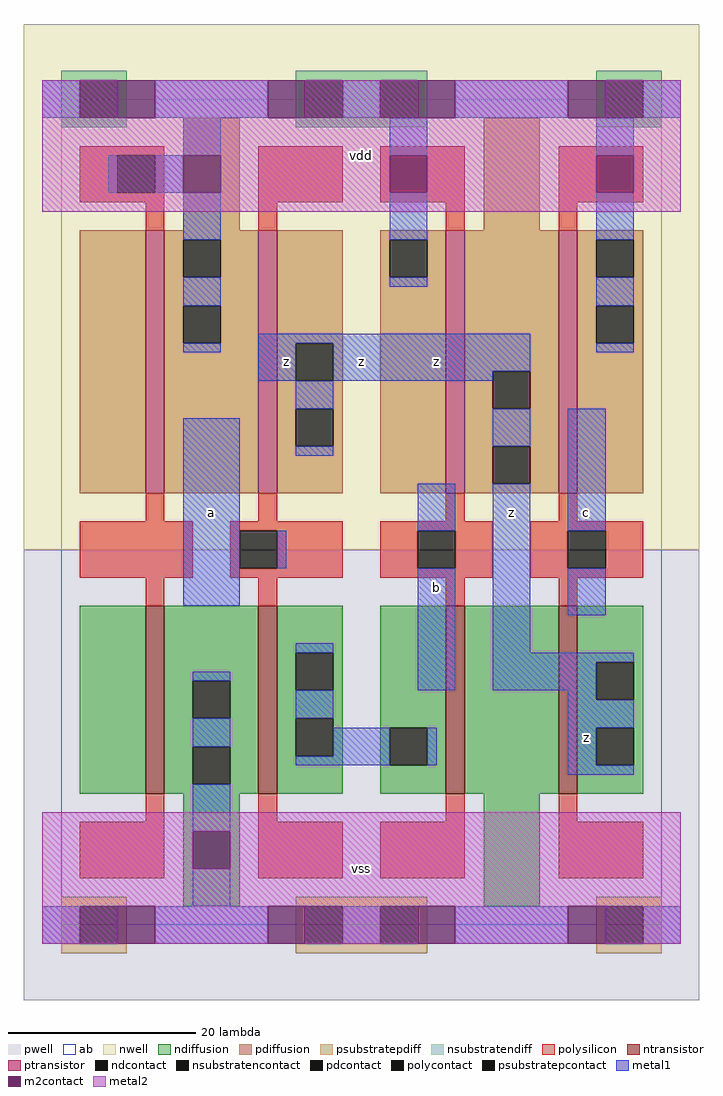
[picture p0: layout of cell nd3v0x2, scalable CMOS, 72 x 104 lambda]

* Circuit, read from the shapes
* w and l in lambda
.subckt nd3v0x2 a b c vdd vss z
M1 vss vdd n1 vss nfet w=20 l=2
M2 n2 a vss vss nfet w=20 l=2
M3 n3 b n2 vss nfet w=20 l=2
M4 z c n3 vss nfet w=20 l=2
M5 vdd vdd n4 vdd pfet w=28 l=2
M6 z a vdd vdd pfet w=28 l=2
M7 z b vdd vdd pfet w=28 l=2
M8 vdd c z vdd pfet w=28 l=2
.ends

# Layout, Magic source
magic
tech scmos
<< ab >>
rect 0 0 64 88
<< pwell >>
rect -4 -8 68 40
<< nwell >>
rect -4 40 68 96
<< polysilicon >>
rect 2 82 11 83
rect 2 78 6 82
rect 10 78 11 82
rect 2 77 11 78
rect 9 74 11 77
rect 21 77 30 83
rect 34 77 43 83
rect 21 74 23 77
rect 41 74 43 77
rect 53 77 62 83
rect 53 74 55 77
rect 9 43 11 46
rect 21 43 23 46
rect 41 43 43 46
rect 53 43 55 46
rect 2 37 14 43
rect 18 42 30 43
rect 18 38 19 42
rect 23 38 30 42
rect 18 37 30 38
rect 34 42 46 43
rect 34 38 38 42
rect 42 38 46 42
rect 34 37 46 38
rect 50 42 62 43
rect 50 38 54 42
rect 58 38 62 42
rect 50 37 62 38
rect 9 34 11 37
rect 21 34 23 37
rect 41 34 43 37
rect 53 34 55 37
rect 9 11 11 14
rect 2 5 11 11
rect 21 11 23 14
rect 41 11 43 14
rect 21 5 30 11
rect 34 5 43 11
rect 53 11 55 14
rect 53 5 62 11
<< ndiffusion >>
rect 2 14 9 34
rect 11 26 21 34
rect 11 22 14 26
rect 18 22 21 26
rect 11 19 21 22
rect 11 15 14 19
rect 18 15 21 19
rect 11 14 21 15
rect 23 29 30 34
rect 23 25 25 29
rect 29 25 30 29
rect 23 22 30 25
rect 23 18 25 22
rect 29 18 30 22
rect 23 14 30 18
rect 34 21 41 34
rect 34 17 35 21
rect 39 17 41 21
rect 34 14 41 17
rect 43 14 53 34
rect 55 28 62 34
rect 55 24 57 28
rect 61 24 62 28
rect 55 21 62 24
rect 55 17 57 21
rect 61 17 62 21
rect 55 14 62 17
rect 13 2 19 14
rect 45 2 51 14
<< pdiffusion >>
rect 13 74 19 86
rect 45 74 51 86
rect 2 46 9 74
rect 11 73 21 74
rect 11 69 13 73
rect 17 69 21 73
rect 11 66 21 69
rect 11 62 13 66
rect 17 62 21 66
rect 11 46 21 62
rect 23 62 30 74
rect 23 58 25 62
rect 29 58 30 62
rect 23 55 30 58
rect 23 51 25 55
rect 29 51 30 55
rect 23 46 30 51
rect 34 73 41 74
rect 34 69 35 73
rect 39 69 41 73
rect 34 46 41 69
rect 43 59 53 74
rect 43 55 46 59
rect 50 55 53 59
rect 43 51 53 55
rect 43 47 46 51
rect 50 47 53 51
rect 43 46 53 47
rect 55 73 62 74
rect 55 69 57 73
rect 61 69 62 73
rect 55 66 62 69
rect 55 62 57 66
rect 61 62 62 66
rect 55 46 62 62
<< metal1 >>
rect -2 86 2 90
rect 10 86 22 90
rect 30 86 34 90
rect 42 86 54 90
rect 62 86 66 90
rect 13 82 17 86
rect 5 78 6 82
rect 10 78 13 82
rect 13 73 17 78
rect 13 66 17 69
rect 35 82 39 86
rect 35 73 39 78
rect 35 68 39 69
rect 57 82 61 86
rect 57 73 61 78
rect 57 66 61 69
rect 13 61 17 62
rect 21 62 50 63
rect 21 58 25 62
rect 29 59 50 62
rect 57 61 61 62
rect 29 58 46 59
rect 25 55 29 58
rect 13 34 19 54
rect 25 50 29 51
rect 46 51 50 55
rect 38 42 42 47
rect 23 38 24 42
rect 25 29 29 30
rect 14 26 18 27
rect 14 19 18 22
rect 38 25 42 38
rect 46 29 50 47
rect 54 42 58 55
rect 54 33 58 38
rect 46 28 61 29
rect 46 25 57 28
rect 25 22 29 25
rect 54 24 57 25
rect 54 21 61 24
rect 29 18 35 21
rect 25 17 35 18
rect 39 17 40 21
rect 54 17 57 21
rect 54 16 61 17
rect 14 10 18 15
rect 14 2 18 6
rect -2 -2 2 2
rect 10 -2 22 2
rect 30 -2 34 2
rect 42 -2 54 2
rect 62 -2 66 2
<< metal2 >>
rect -2 86 6 90
rect 10 86 22 90
rect 26 86 38 90
rect 42 86 54 90
rect 58 86 66 90
rect -2 82 66 86
rect -2 78 13 82
rect 17 78 35 82
rect 39 78 57 82
rect 61 78 66 82
rect -2 76 66 78
rect -2 10 66 12
rect -2 6 14 10
rect 18 6 66 10
rect -2 2 66 6
rect -2 -2 6 2
rect 10 -2 22 2
rect 26 -2 38 2
rect 42 -2 54 2
rect 58 -2 66 2
<< ntransistor >>
rect 9 14 11 34
rect 21 14 23 34
rect 41 14 43 34
rect 53 14 55 34
<< ptransistor >>
rect 9 46 11 74
rect 21 46 23 74
rect 41 46 43 74
rect 53 46 55 74
<< polycontact >>
rect 6 78 10 82
rect 19 38 23 42
rect 38 38 42 42
rect 54 38 58 42
<< ndcontact >>
rect 14 22 18 26
rect 14 15 18 19
rect 25 25 29 29
rect 25 18 29 22
rect 35 17 39 21
rect 57 24 61 28
rect 57 17 61 21
<< pdcontact >>
rect 13 69 17 73
rect 13 62 17 66
rect 25 58 29 62
rect 25 51 29 55
rect 35 69 39 73
rect 46 55 50 59
rect 46 47 50 51
rect 57 69 61 73
rect 57 62 61 66
<< m2contact >>
rect 6 86 10 90
rect 22 86 26 90
rect 38 86 42 90
rect 54 86 58 90
rect 13 78 17 82
rect 35 78 39 82
rect 57 78 61 82
rect 14 6 18 10
rect 6 -2 10 2
rect 22 -2 26 2
rect 38 -2 42 2
rect 54 -2 58 2
<< psubstratepcontact >>
rect 2 -2 6 2
rect 26 -2 30 2
rect 34 -2 38 2
rect 58 -2 62 2
<< nsubstratencontact >>
rect 2 86 6 90
rect 26 86 30 90
rect 34 86 38 90
rect 58 86 62 90
<< psubstratepdiff >>
rect 0 2 7 3
rect 25 2 39 3
rect 57 2 64 3
rect 0 -2 2 2
rect 6 -2 7 2
rect 0 -3 7 -2
rect 25 -2 26 2
rect 30 -2 34 2
rect 38 -2 39 2
rect 25 -3 39 -2
rect 57 -2 58 2
rect 62 -2 64 2
rect 57 -3 64 -2
<< nsubstratendiff >>
rect 0 90 7 91
rect 0 86 2 90
rect 6 86 7 90
rect 25 90 39 91
rect 25 86 26 90
rect 30 86 34 90
rect 38 86 39 90
rect 57 90 64 91
rect 57 86 58 90
rect 62 86 64 90
rect 0 85 7 86
rect 25 85 39 86
rect 57 85 64 86
<< labels >>
rlabel metal1 16 44 16 44 6 a
rlabel metal1 24 60 24 60 6 z
rlabel metal1 40 36 40 36 6 b
rlabel metal1 32 60 32 60 6 z
rlabel metal1 40 60 40 60 6 z
rlabel metal1 56 20 56 20 6 z
rlabel metal1 56 44 56 44 6 c
rlabel metal1 48 44 48 44 6 z
rlabel metal2 32 6 32 6 6 vss
rlabel metal2 32 82 32 82 6 vdd
<< end >>
